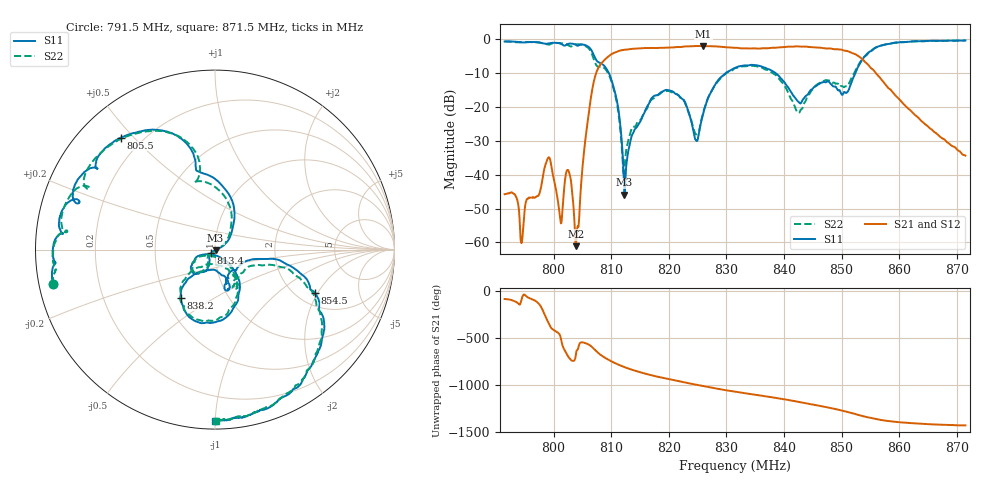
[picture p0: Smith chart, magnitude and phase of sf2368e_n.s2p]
# Hz S RI R 50
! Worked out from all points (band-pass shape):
!   1601 points, 791.5 MHz to 871.5 MHz, reference 50 ohm
!   highest |S21| = -2.01 dB at 826 MHz (marker M1); lowest = -61.1 dB at 803.9 MHz (marker M2)
!   |S21| within 3 dB of the highest: 809.6 MHz to 852.9 MHz (43.31 MHz wide, 5.21 % of centre)
!   lowest |S11| = -45.9 dB at 812.3 MHz (marker M3), VSWR 1.01, Z = 50.3 - j0.395 ohm
!   |S11| at or under -10 dB: 809.6 MHz to 829.9 MHz (20.29 MHz wide, 2.47 % of centre); 838.5 MHz to 852.4 MHz (13.9 MHz wide, 1.64 % of centre)
!   |S22| runs from -40.7 to -0.4 dB; largest |S21 - S12| = 0.005
!   S11 on the Smith chart (normalised r, x): 791.5 MHz: 0.04, -0.11; 805.5 MHz: 0.12, +0.46; 813.4 MHz: 0.95, -0.04; 838.2 MHz: 0.60, -0.36; 854.5 MHz: 2.47, -1.91; 871.5 MHz: 0.05, -1.00
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7.915e8  -0.9035 -0.1926  0.000273 -0.00515  0.000287 -0.00519  -0.9025 -0.1906
7.945e8  -0.8914 -0.0793  0.000209 -0.000975  0.000207 -0.000982  -0.8947 -0.0972
7.9915e8  -0.8563 0.0968  0.0174 0.0049  0.0173 0.00498  -0.8223 0.1025
8.012e8  -0.8137 0.2669  -0.00128 -0.00161  -0.00132 -0.00163  -0.8354 0.2496
8.0265e8  -0.7936 0.3173  0.011 0.00215  0.0109 0.00225  -0.7155 0.3542
8.0385e8  -0.688 0.4549  0.000725 0.000502  0.000836 0.00045  -0.7202 0.4287
8.0485e8  -0.636 0.5391  -0.00856 0.00128  -0.00855 0.00124  -0.603 0.5678
8.055e8  -0.5222 0.6245  -0.0306 0.00837  -0.0307 0.00829  -0.4731 0.6376
8.073e8  -0.1102 0.498  0.0287 0.296  0.0282 0.296  -0.0856 0.4217
8.1015e8  0.1087 0.2085  0.502 -0.3398  0.5028 -0.3379  0.0914 0.2035
8.123e8  0.00316 -0.00393  -0.0249 -0.6957  -0.0235 -0.695  -0.00308 -0.0112
8.1335e8  -0.0235 -0.0209  -0.2959 -0.6495  -0.2932 -0.6497  -0.033 -0.0264
8.182e8  -0.0833 -0.1275  -0.7116 0.209  -0.7114 0.2077  -0.0837 -0.1249
8.2475e8  -0.0104 -0.0302  0.1307 0.7783  0.1286 0.7784  -0.0112 -0.0376
8.26e8  0.0562 -0.0589  0.3288 0.7216  0.3262 0.7215  0.0528 -0.0651
8.315e8  0.07 -0.3709  0.741 0.0834  0.7419 0.084  0.0572 -0.3667
8.3825e8  -0.1912 -0.2669  0.4068 -0.6234  0.4072 -0.6263  -0.1915 -0.2395
8.4485e8  0.0649 -0.1687  -0.4789 -0.589  -0.4779 -0.5909  0.1011 -0.1452
8.4965e8  0.0751 -0.1597  -0.6937 0.1065  -0.6932 0.1028  0.1103 -0.167
8.5455e8  0.5583 -0.2435  -0.0221 0.4235  -0.0232 0.4223  0.5591 -0.2756
8.582e8  0.5175 -0.6715  0.108 0.1523  0.1071 0.1527  0.512 -0.6729
8.715e8  -0.00157 -0.9542  0.019 0.00247  0.019 0.00258  0.00584 -0.954
